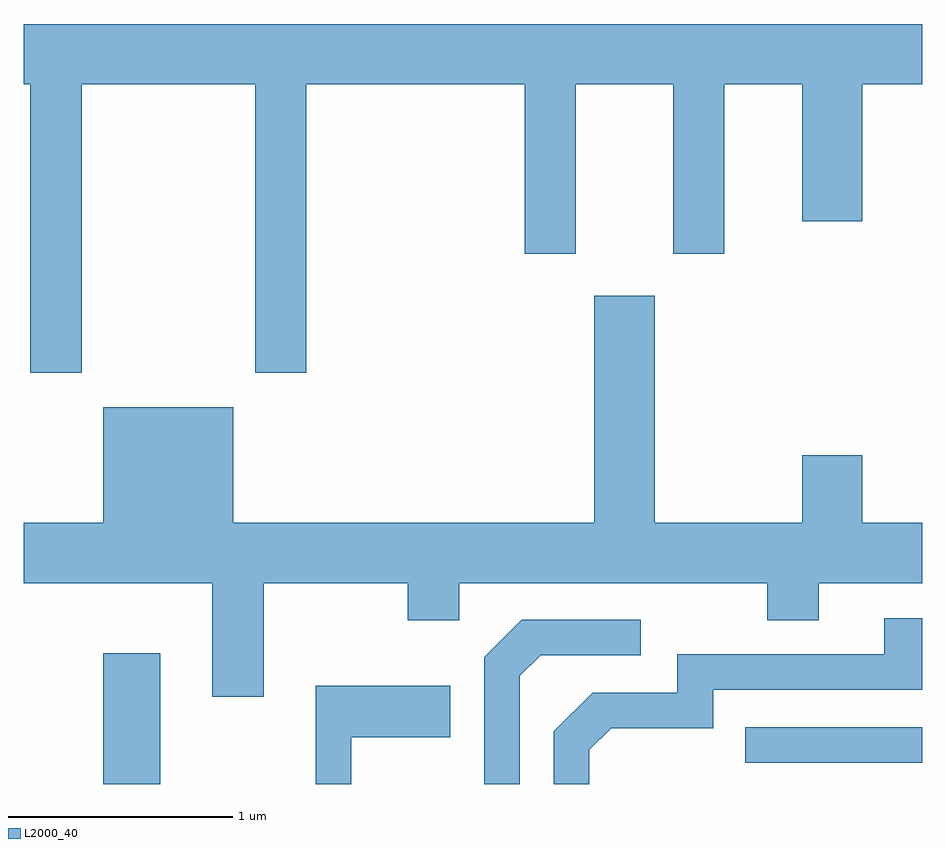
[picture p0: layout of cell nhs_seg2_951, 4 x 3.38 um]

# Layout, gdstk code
import gdstk
lib = gdstk.Library(unit=1e-6, precision=1e-09)
def R(c, l, rs):  # rectangles x0, y0, x1, y1
    for r in rs: c.add(gdstk.rectangle(r[:2], r[2:], *l))
def P(c, l, *ps):  # polygons
    for p in ps: c.add(gdstk.Polygon(p, *l))
L2000_40 = (2000, 40)

nhs_seg2_951 = lib.new_cell('nhs_seg2_951')
R(nhs_seg2_951, L2000_40, [(211.966,1111.802,212.219,1112.384), (214.823,1111.896,215.611,1112.054)])
P(nhs_seg2_951, L2000_40, [(211.869,1114.916),(212.641,1114.916),(212.641,1113.631),(212.869,1113.631),(212.869,1114.916),(213.841,1114.916),(213.841,1114.161),(214.069,1114.161),(214.069,1114.916),(214.501,1114.916),(214.501,1114.161),(214.729,1114.161),(214.729,1114.916),(215.076,1114.916),(215.076,1114.306),(215.344,1114.306),(215.344,1114.916),(215.611,1114.916),(215.611,1115.184),(211.611,1115.184),(211.611,1114.916),(211.641,1114.916),(211.641,1113.631),(211.869,1113.631)],
  [(212.679,1112.696),(213.321,1112.696),(213.321,1112.531),(213.549,1112.531),(213.549,1112.696),(214.921,1112.696),(214.921,1112.531),(215.149,1112.531),(215.149,1112.696),(215.611,1112.696),(215.611,1112.964),(215.344,1112.964),(215.344,1113.264),(215.076,1113.264),(215.076,1112.964),(214.419,1112.964),(214.419,1113.974),(214.151,1113.974),(214.151,1112.964),(212.544,1112.964),(212.544,1113.479),(211.966,1113.479),(211.966,1112.964),(211.611,1112.964),(211.611,1112.696),(212.451,1112.696),(212.451,1112.191),(212.679,1112.191)],
  [(214.129,1111.954),(214.227,1112.051),(214.679,1112.051),(214.679,1112.221),(215.611,1112.221),(215.611,1112.539),(215.441,1112.539),(215.441,1112.379),(214.521,1112.379),(214.521,1112.209),(214.144,1112.209),(213.971,1112.037),(213.971,1111.802),(214.129,1111.802)],
  [(213.819,1112.284),(213.912,1112.376),(214.358,1112.376),(214.358,1112.534),(213.829,1112.534),(213.661,1112.367),(213.661,1111.802),(213.819,1111.802)],
  [(213.069,1112.011),(213.509,1112.011),(213.509,1112.239),(212.911,1112.239),(212.911,1111.802),(213.069,1111.802)])

lib.write_gds('nhs_seg2_951.gds')
